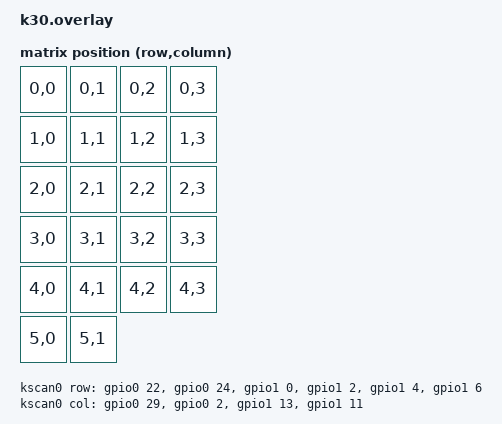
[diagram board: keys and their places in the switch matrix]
/*
 * Copyright (c) 2020 The ZMK Contributors
 *
 * SPDX-License-Identifier: MIT
 */

#include <dt-bindings/zmk/matrix_transform.h>

/ {
	chosen {
		zmk,kscan = &kscan0;
		zmk,matrix_transform = &default_transform;
		zmk,backlight = &backlight;
		zmk,battery = &vbatt;
		zephyr,console = &cdc_acm_uart;
		zephyr,shell-uart = &cdc_acm_uart;
	};
    
	vbatt: vbatt {
		compatible = "zmk,battery-voltage-divider";
		io-channels = <&adc 2>; /* p0.4引脚对应的ADC通道 */
		output-ohms = <2000000>;
		full-ohms = <(2000000 + 820000)>;
	};
    
	backlight: backlight {
		compatible = "gpio-leds";
		rgb_red: rgb_red {
			gpios = <&gpio1 10 GPIO_ACTIVE_HIGH>;
			label = "RGB Red";
		};
		/* 禁用绿色和蓝色LED，只保留红色LED */
		/* rgb_green: rgb_green {
			gpios = <&gpio0 3 GPIO_ACTIVE_HIGH>;
			label = "RGB Green";
		};
		rgb_blue: rgb_blue {
			gpios = <&gpio0 28 GPIO_ACTIVE_HIGH>;
			label = "RGB Blue";
		}; */
	};
    
	default_transform: keymap_transform_0 {
		compatible = "zmk,matrix-transform";
		columns = <4>;
		rows = <6>;
		map = <
		RC(0,0) RC(0,1) RC(0,2) RC(0,3)
		RC(1,0) RC(1,1) RC(1,2) RC(1,3)
		RC(2,0) RC(2,1) RC(2,2) RC(2,3)
		RC(3,0) RC(3,1) RC(3,2) RC(3,3)
		RC(4,0) RC(4,1) RC(4,2) RC(4,3)
		RC(5,0) RC(5,1)
		>;
	};
	kscan0: kscan {
		compatible = "zmk,kscan-gpio-matrix";
		label = "KSCAN";
		wakeup-source;

		diode-direction = "col2row";
		col-gpios
			= <&gpio0 29 GPIO_ACTIVE_HIGH>
			, <&gpio0 2 GPIO_ACTIVE_HIGH>
			, <&gpio1 13 GPIO_ACTIVE_HIGH>
			, <&gpio1 11 GPIO_ACTIVE_HIGH>
			;
		row-gpios
			= <&gpio0 22 (GPIO_ACTIVE_HIGH | GPIO_PULL_DOWN)>
			, <&gpio0 24 (GPIO_ACTIVE_HIGH | GPIO_PULL_DOWN)>
			, <&gpio1 0 (GPIO_ACTIVE_HIGH | GPIO_PULL_DOWN)>
			, <&gpio1 2 (GPIO_ACTIVE_HIGH | GPIO_PULL_DOWN)>
			, <&gpio1 4 (GPIO_ACTIVE_HIGH | GPIO_PULL_DOWN)>
			, <&gpio1 6 (GPIO_ACTIVE_HIGH | GPIO_PULL_DOWN)>
			;
	};
};

/* USB CDC ACM配置 - 最小化配置，确保正确启用串口功能 */
&usbd {
	status = "okay";
};

&usbd {
	#address-cells = <1>;
	#size-cells = <0>;

	cdc_acm_uart: cdc-acm-uart@0 {
		compatible = "zephyr,cdc-acm-uart";
		reg = <0>;
	};
};


